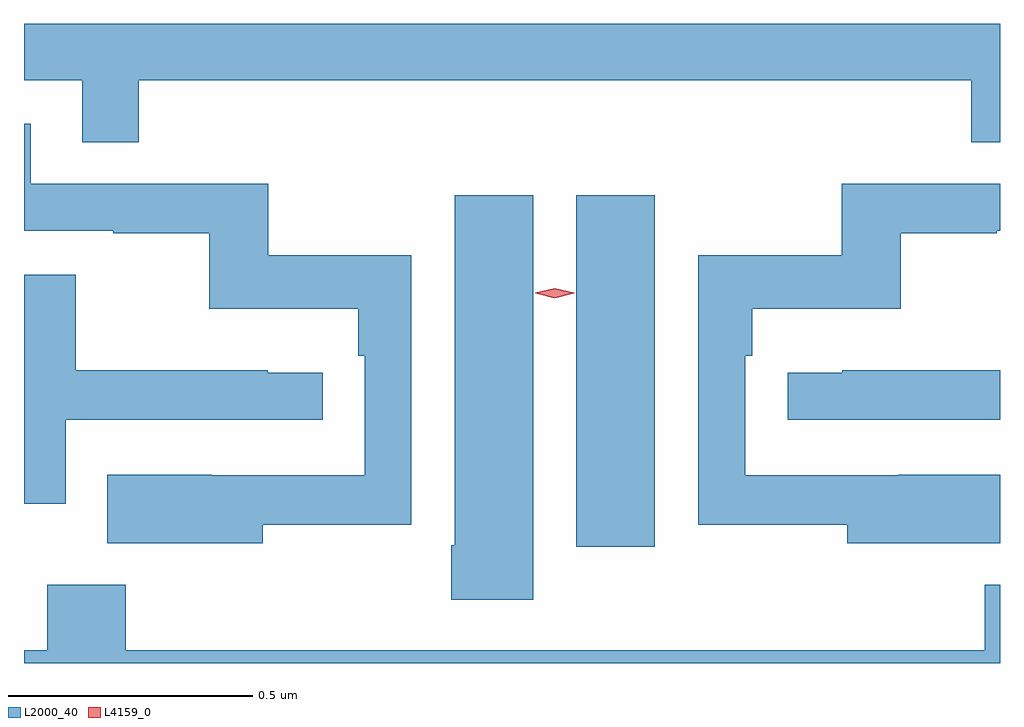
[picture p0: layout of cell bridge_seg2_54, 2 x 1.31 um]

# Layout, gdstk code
import gdstk
lib = gdstk.Library(unit=1e-6, precision=1e-09)
def R(c, l, rs):  # rectangles x0, y0, x1, y1
    for r in rs: c.add(gdstk.rectangle(r[:2], r[2:], *l))
def P(c, l, *ps):  # polygons
    for p in ps: c.add(gdstk.Polygon(p, *l))
L2000_40 = (2000, 40)
L4159_0 = (4159, 0)

bridge_seg2_54 = lib.new_cell('bridge_seg2_54')
R(bridge_seg2_54, L2000_40, [(907.28,665.328,907.441,666.049)])
P(bridge_seg2_54, L2000_40, [(906.383,666.284),(908.089,666.284),(908.089,666.157),(908.148,666.157),(908.148,666.4),(906.148,666.4),(906.148,666.284),(906.267,666.284),(906.267,666.157),(906.383,666.157)],
  [(906.637,665.374),(906.942,665.374),(906.942,665.926),(906.649,665.926),(906.649,666.072),(906.162,666.072),(906.162,666.195),(906.148,666.195),(906.148,665.976),(906.331,665.976),(906.331,665.971),(906.528,665.971),(906.528,665.816),(906.833,665.816),(906.833,665.72),(906.846,665.72),(906.846,665.475),(906.533,665.475),(906.533,665.476),(906.319,665.476),(906.319,665.336),(906.637,665.336)],
  [(908.148,665.476),(907.939,665.476),(907.939,665.475),(907.626,665.475),(907.626,665.72),(907.64,665.72),(907.64,665.816),(907.945,665.816),(907.945,665.971),(908.141,665.971),(908.141,665.976),(908.148,665.976),(908.148,666.072),(907.824,666.072),(907.824,665.926),(907.53,665.926),(907.53,665.374),(907.835,665.374),(907.835,665.336),(908.148,665.336)],
  [(907.192,666.049),(907.031,666.049),(907.031,665.332),(907.024,665.332),(907.024,665.22),(907.192,665.22)],
  [(906.234,665.589),(906.76,665.589),(906.76,665.685),(906.647,665.685),(906.647,665.69),(906.254,665.69),(906.254,665.886),(906.148,665.886),(906.148,665.417),(906.234,665.417)],
  [(908.148,665.69),(907.825,665.69),(907.825,665.685),(907.713,665.685),(907.713,665.589),(908.148,665.589)],
  [(908.148,665.251),(908.117,665.251),(908.117,665.116),(906.356,665.116),(906.356,665.251),(906.196,665.251),(906.196,665.116),(906.148,665.116),(906.148,665.09),(908.148,665.09)])
P(bridge_seg2_54, L4159_0, [(907.236,665.838),(907.196,665.848),(907.196,665.848),(907.196,665.849),(907.236,665.858),(907.276,665.849),(907.276,665.848),(907.276,665.848)])

lib.write_gds('bridge_seg2_54.gds')
